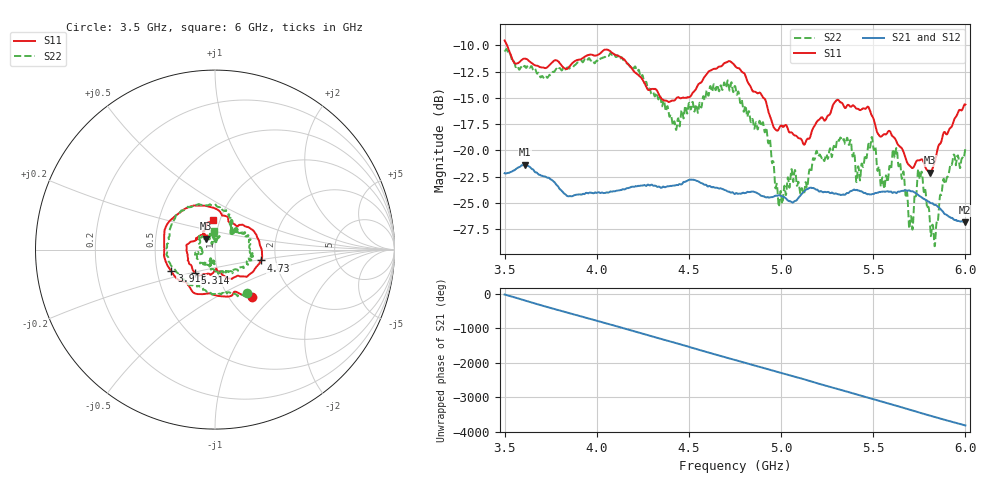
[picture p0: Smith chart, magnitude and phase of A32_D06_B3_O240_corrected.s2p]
! Created with skrf 1.9.0 (http://scikit-rf.org).
# Hz S RI R 50.0
!freq ReS11 ImS11 ReS21 ImS21 ReS12 ImS12 ReS22 ImS22
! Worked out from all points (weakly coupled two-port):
!   1601 points, 3.5 GHz to 6 GHz, reference 50 ohm
!   highest |S21| = -21.38 dB at 3.611 GHz (marker M1); lowest = -26.9 dB at 5.997 GHz (marker M2)
!   lowest |S11| = -22.1 dB at 5.808 GHz (marker M3), VSWR 1.17, Z = 45 + j5.51 ohm
!   |S11| at or under -10 dB: 3.513 GHz to end of sweep
!   |S22| runs from -29.1 to -10.3 dB; largest |S21 - S12| = 0.00093
!   S11 on the Smith chart (normalised r, x): 3.5 GHz: 1.26, -0.75; 3.916 GHz: 0.59, -0.16; 4.73 GHz: 1.67, -0.22; 5.314 GHz: 0.78, -0.21; 6 GHz: 0.93, +0.31
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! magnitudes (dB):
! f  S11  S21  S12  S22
! 3.5 GHz  -9.5  -22.2  -22.2  -10.5
! 3.611 GHz  -11.3  -21.4  -21.4  -12.0
! 3.916 GHz  -11.3  -24.2  -24.2  -11.5
! 3.917 GHz  -11.3  -24.2  -24.2  -11.5
! 4.334 GHz  -14.6  -23.5  -23.4  -15.2
! 4.423 GHz  -15.2  -23.4  -23.3  -17.4
! 4.73 GHz  -11.6  -24.0  -23.9  -13.5
! 4.75 GHz  -11.9  -24.2  -24.1  -13.9
! 4.911 GHz  -15.1  -24.4  -24.4  -18.3
! 4.997 GHz  -17.7  -24.3  -24.3  -23.9
! 5.167 GHz  -18.2  -23.6  -23.5  -21.6
! 5.314 GHz  -15.3  -24.2  -24.1  -19.1
! 5.417 GHz  -16.1  -23.8  -23.8  -21.5
! 5.584 GHz  -18.2  -23.9  -23.9  -22.0
! 5.634 GHz  -19.5  -23.9  -23.9  -21.2
! 5.705 GHz  -21.6  -23.9  -23.9  -26.3
! 5.755 GHz  -20.9  -24.4  -24.3  -22.7
! 5.808 GHz  -22.1  -25.0  -24.9  -26.9
! 5.839 GHz  -20.7  -25.2  -25.1  -28.0
! 5.875 GHz  -18.8  -25.8  -25.7  -23.4
! 5.997 GHz  -15.6  -26.9  -26.7  -20.1
! 6 GHz  -15.6  -26.8  -26.8  -19.9
